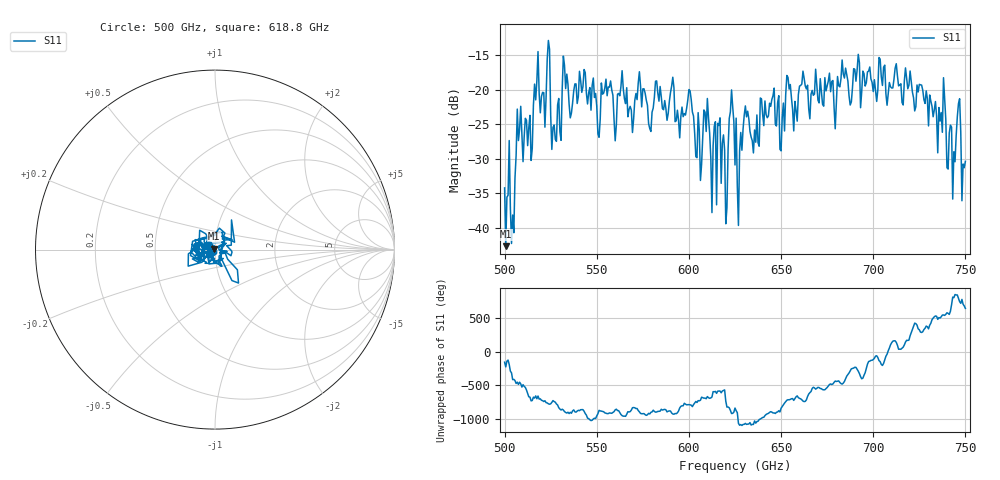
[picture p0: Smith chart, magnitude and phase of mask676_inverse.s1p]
!Created with skrf (http://scikit-rf.org).
# GHz S MA R 50.0
!freq magS11 angS11
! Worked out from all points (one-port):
!   401 points, 500 GHz to 750 GHz, reference 50 ohm
!   lowest |S11| = -42.7 dB at 500.6 GHz (marker M1), VSWR 1.01, Z = 49.5 + j0.51 ohm
!   |S11| at or under -10 dB: start of sweep to end of sweep
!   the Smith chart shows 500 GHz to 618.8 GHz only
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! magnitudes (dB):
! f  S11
! 500 GHz  -34.2
! 500.6 GHz  -42.7
! 504.4 GHz  -38.1
! 507.5 GHz  -27.4
! 513.8 GHz  -23.7
! 517.5 GHz  -18.7
! 523.8 GHz  -12.8
! 526.9 GHz  -25.1
! 531.2 GHz  -19.9
! 562.5 GHz  -20.9
! 579.4 GHz  -26.0
! 590.6 GHz  -19.5
! 593.8 GHz  -23.0
! 600.6 GHz  -20.2
! 605.6 GHz  -25.9
! 609.4 GHz  -26.0
! 620 GHz  -39.4
! 623.1 GHz  -20.0
! 625 GHz  -30.9
! 627.5 GHz  -28.9
! 631.2 GHz  -23.9
! 656.2 GHz  -22.8
! 687.5 GHz  -22.2
! 718.8 GHz  -19.9
! 738.1 GHz  -18.3
! 743.8 GHz  -29.0
! 746.2 GHz  -22.0
! 750 GHz  -30.4
